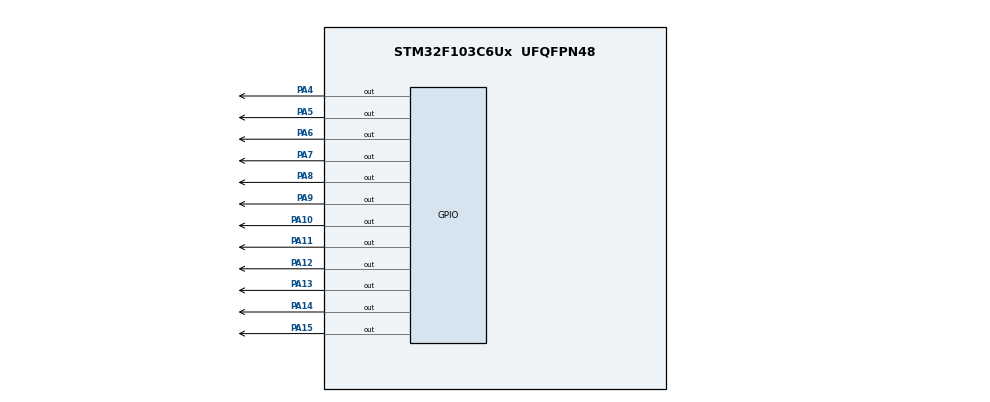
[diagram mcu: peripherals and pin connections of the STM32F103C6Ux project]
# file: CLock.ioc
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Mcu.Family=STM32F1
Mcu.Name=STM32F103C6Ux
Mcu.Package=UFQFPN48
NVIC.PriorityGroup=NVIC_PRIORITYGROUP_4
PA10.Signal=GPIO_Output
PA11.Signal=GPIO_Output
PA12.Signal=GPIO_Output
PA13.Signal=GPIO_Output
PA14.Signal=GPIO_Output
PA15.Signal=GPIO_Output
PA4.Signal=GPIO_Output
PA5.Signal=GPIO_Output
PA6.Signal=GPIO_Output
PA7.Signal=GPIO_Output
PA8.Signal=GPIO_Output
PA9.Signal=GPIO_Output
ProjectManager.HeapSize=0x200
ProjectManager.StackSize=0x400
ProjectManager.TargetToolchain=STM32CubeIDE
RCC.APB1Freq_Value=8000000
RCC.APB2Freq_Value=8000000
VP_SYS_VS_ND.Mode=No_Debug
board=custom

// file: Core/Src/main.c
/* USER CODE BEGIN Header */
/**
  ******************************************************************************
  * @file           : main.c
  * @brief          : Main program body
  ******************************************************************************
  * @attention
  *
  * <h2><center>&copy; Copyright (c) 2022 STMicroelectronics.
  * All rights reserved.</center></h2>
  *
  * This software component is licensed by ST under BSD 3-Clause license,
  * the "License"; You may not use this file except in compliance with the
  * License. You may obtain a copy of the License at:
  *                        opensource.org/licenses/BSD-3-Clause
  *
  ******************************************************************************
  */
/* USER CODE END Header */
#include "main.h"

void SystemClock_Config(void);
static void MX_GPIO_Init(void);

/* USER CODE BEGIN 0 */
void clearAllClock()
{
	HAL_GPIO_WritePin(GPIOA, GPIO_PIN_4|GPIO_PIN_5|GPIO_PIN_6|GPIO_PIN_7
		                            |GPIO_PIN_8|GPIO_PIN_9|GPIO_PIN_10|GPIO_PIN_11
		                            |GPIO_PIN_12|GPIO_PIN_13|GPIO_PIN_14|GPIO_PIN_15, SET);
}
void setNumberOnClock(int num)
{
	switch(num)
	{
	case 0:
		HAL_GPIO_WritePin(GPIOA, GPIO_PIN_15, RESET);
		break;
	case 1:
		HAL_GPIO_WritePin(GPIOA, GPIO_PIN_4, RESET);
		break;
	case 2:
		HAL_GPIO_WritePin(GPIOA, GPIO_PIN_5, RESET);
		break;
	case 3:
		HAL_GPIO_WritePin(GPIOA, GPIO_PIN_6, RESET);
		break;
	case 4:
		HAL_GPIO_WritePin(GPIOA, GPIO_PIN_7, RESET);
		break;
	case 5:
		HAL_GPIO_WritePin(GPIOA, GPIO_PIN_8, RESET);
		break;
	case 6:
		HAL_GPIO_WritePin(GPIOA, GPIO_PIN_9, RESET);
		break;
	case 7:
		HAL_GPIO_WritePin(GPIOA, GPIO_PIN_10, RESET);
		break;
	case 8:
		HAL_GPIO_WritePin(GPIOA, GPIO_PIN_11, RESET);
		break;
	case 9:
		HAL_GPIO_WritePin(GPIOA, GPIO_PIN_12, RESET);
		break;
	case 10:
		HAL_GPIO_WritePin(GPIOA, GPIO_PIN_13, RESET);
		break;
	case 11:
		HAL_GPIO_WritePin(GPIOA, GPIO_PIN_14, RESET);
		break;
	}
}
void clearNumberOnClock(int num)
{
	switch(num)
		{
		case 0:
			HAL_GPIO_WritePin(GPIOA, GPIO_PIN_15, SET);
			break;
		case 1:
			HAL_GPIO_WritePin(GPIOA, GPIO_PIN_4, SET);
			break;
		case 2:
			HAL_GPIO_WritePin(GPIOA, GPIO_PIN_5, SET);
			break;
		case 3:
			HAL_GPIO_WritePin(GPIOA, GPIO_PIN_6, SET);
			break;
		case 4:
			HAL_GPIO_WritePin(GPIOA, GPIO_PIN_7, SET);
			break;
		case 5:
			HAL_GPIO_WritePin(GPIOA, GPIO_PIN_8, SET);
			break;
		case 6:
			HAL_GPIO_WritePin(GPIOA, GPIO_PIN_9, SET);
			break;
		case 7:
			HAL_GPIO_WritePin(GPIOA, GPIO_PIN_10, SET);
			break;
		case 8:
			HAL_GPIO_WritePin(GPIOA, GPIO_PIN_11, SET);
			break;
		case 9:
			HAL_GPIO_WritePin(GPIOA, GPIO_PIN_12, SET);
			break;
		case 10:
			HAL_GPIO_WritePin(GPIOA, GPIO_PIN_13, SET);
			break;
		case 11:
			HAL_GPIO_WritePin(GPIOA, GPIO_PIN_14, SET);
			break;
		}

}
/* USER CODE END 0 */

int main(void)
{

  /* MCU Configuration--------------------------------------------------------*/

  /* Reset of all peripherals, Initializes the Flash interface and the Systick. */
  HAL_Init();

  /* Configure the system clock */
  SystemClock_Config();

  /* Initialize all configured peripherals */
  MX_GPIO_Init();

  /* Infinite loop */
  /* USER CODE BEGIN WHILE */
  int second = 30;
  int minute = 59;
  int hour = 12;
  clearAllClock();
  //Nhap hour
  setNumberOnClock(hour);
  //Nhap minute
  setNumberOnClock(minute/5);
  //Nhap second
  setNumberOnClock(second/5);
  while (1)
  {
	  int tempsec= second;
	  int tempmin= minute;
	  second = second/5;
	  minute = minute/5;
	  HAL_GPIO_WritePin(GPIOA, GPIO_PIN_4|GPIO_PIN_5|GPIO_PIN_6|GPIO_PIN_7
	                            |GPIO_PIN_8|GPIO_PIN_9|GPIO_PIN_10|GPIO_PIN_11
	                            |GPIO_PIN_12|GPIO_PIN_13|GPIO_PIN_14|GPIO_PIN_15, SET);

	  if(second==0 || minute==0 || hour==0)
		  setNumberOnClock(0);
	  if(second==1 || minute==1 || hour==1)
		  setNumberOnClock(1);
	  if(second==2 || minute==2 || hour==2)
		  setNumberOnClock(2);
	  if(second==3 || minute==3 || hour==3)
		  setNumberOnClock(3);
	  if(second==4 || minute==4 || hour==4)
		  setNumberOnClock(4);
	  if(second==5 || minute==5 || hour==5)
		  setNumberOnClock(5);
	  if(second==6 || minute==6 || hour==6)
		  setNumberOnClock(6);
	  if(second==7 || minute==7 || hour==7)
		  setNumberOnClock(7);
	  if(second==8 || minute==8 || hour==8)
		  setNumberOnClock(8);
	  if(second==9 || minute==9 || hour==9)
		  setNumberOnClock(9);
	  if(second==10 || minute==10 || hour==10)
		  setNumberOnClock(10);
	  if(second==11 || minute==11 || hour==11)
		  setNumberOnClock(11);
	  if(second==12 || minute==12 || hour==12)
		  setNumberOnClock(0);

	  second = tempsec;
	  minute = tempmin;
	  if(second>=60)
	  {
		  second = 0;
		  minute++;
	  }
	  if(minute>=60)
	  {
		  minute = 0;
		  hour++;
	  }
	  if(hour>=12) hour = 0;
	  second++;
	  HAL_Delay(100);
    /* USER CODE END WHILE */
  }
}

void SystemClock_Config(void)
{
  RCC_OscInitTypeDef RCC_OscInitStruct = {0};
  RCC_ClkInitTypeDef RCC_ClkInitStruct = {0};

  /** Initializes the RCC Oscillators according to the specified parameters
  * in the RCC_OscInitTypeDef structure.
  */
  RCC_OscInitStruct.OscillatorType = RCC_OSCILLATORTYPE_HSI;
  RCC_OscInitStruct.HSIState = RCC_HSI_ON;
  RCC_OscInitStruct.HSICalibrationValue = RCC_HSICALIBRATION_DEFAULT;
  RCC_OscInitStruct.PLL.PLLState = RCC_PLL_NONE;
  if (HAL_RCC_OscConfig(&RCC_OscInitStruct) != HAL_OK)
  {
    Error_Handler();
  }
  /** Initializes the CPU, AHB and APB buses clocks
  */
  RCC_ClkInitStruct.ClockType = RCC_CLOCKTYPE_HCLK|RCC_CLOCKTYPE_SYSCLK
                              |RCC_CLOCKTYPE_PCLK1|RCC_CLOCKTYPE_PCLK2;
  RCC_ClkInitStruct.SYSCLKSource = RCC_SYSCLKSOURCE_HSI;
  RCC_ClkInitStruct.AHBCLKDivider = RCC_SYSCLK_DIV1;
  RCC_ClkInitStruct.APB1CLKDivider = RCC_HCLK_DIV1;
  RCC_ClkInitStruct.APB2CLKDivider = RCC_HCLK_DIV1;

  if (HAL_RCC_ClockConfig(&RCC_ClkInitStruct, FLASH_LATENCY_0) != HAL_OK)
  {
    Error_Handler();
  }
}

static void MX_GPIO_Init(void)
{
  GPIO_InitTypeDef GPIO_InitStruct = {0};

  /* GPIO Ports Clock Enable */
  __HAL_RCC_GPIOA_CLK_ENABLE();

  /*Configure GPIO pin Output Level */
  HAL_GPIO_WritePin(GPIOA, GPIO_PIN_4|GPIO_PIN_5|GPIO_PIN_6|GPIO_PIN_7
                          |GPIO_PIN_8|GPIO_PIN_9|GPIO_PIN_10|GPIO_PIN_11
                          |GPIO_PIN_12|GPIO_PIN_13|GPIO_PIN_14|GPIO_PIN_15, GPIO_PIN_RESET);

  /*Configure GPIO pins : PA4 PA5 PA6 PA7
                           PA8 PA9 PA10 PA11
                           PA12 PA13 PA14 PA15 */
  GPIO_InitStruct.Pin = GPIO_PIN_4|GPIO_PIN_5|GPIO_PIN_6|GPIO_PIN_7
                          |GPIO_PIN_8|GPIO_PIN_9|GPIO_PIN_10|GPIO_PIN_11
                          |GPIO_PIN_12|GPIO_PIN_13|GPIO_PIN_14|GPIO_PIN_15;
  GPIO_InitStruct.Mode = GPIO_MODE_OUTPUT_PP;
  GPIO_InitStruct.Pull = GPIO_NOPULL;
  GPIO_InitStruct.Speed = GPIO_SPEED_FREQ_LOW;
  HAL_GPIO_Init(GPIOA, &GPIO_InitStruct);

}

void Error_Handler(void)
{
  __disable_irq();
  while (1)
  {
  }
}

/************************ (C) COPYRIGHT STMicroelectronics *****END OF FILE****/
